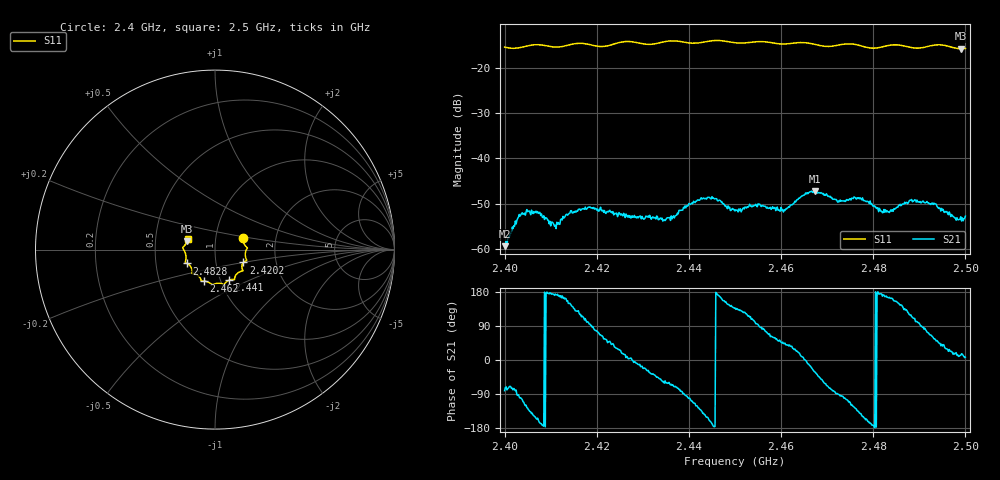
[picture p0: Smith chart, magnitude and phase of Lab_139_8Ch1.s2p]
# Hz S RI R 50
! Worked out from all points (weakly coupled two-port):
!   601 points, 2.4 GHz to 2.5 GHz, reference 50 ohm
!   highest |S21| = -47.19 dB at 2.4673 GHz (marker M1); lowest = -59.4 dB at 2.4 GHz (marker M2)
!   lowest |S11| = -15.8 dB at 2.499 GHz (marker M3), VSWR 1.39, Z = 36.4 + j3.53 ohm
!   |S11| at or under -10 dB: start of sweep to end of sweep
!   S12 and S22 are empty: the file has one direction only
!   S11 on the Smith chart (normalised r, x): 2.4 GHz: 1.36, +0.17; 2.4202 GHz: 1.36, -0.20; 2.441 GHz: 1.10, -0.39; 2.462 GHz: 0.84, -0.30; 2.4828 GHz: 0.72, -0.11; 2.5 GHz: 0.73, +0.09
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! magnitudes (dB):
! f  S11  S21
! 2.4 GHz  -15.4  -59.4
! 2.4037 GHz  -15.4  -52.2
! 2.4072 GHz  -14.9  -51.8
! 2.4113 GHz  -15.4  -54.2
! 2.4167 GHz  -14.6  -51.3
! 2.4202 GHz  -15.2  -51.2
! 2.4333 GHz  -14.5  -53.6
! 2.4365 GHz  -14.0  -53.0
! 2.441 GHz  -14.6  -49.5
! 2.4455 GHz  -14.0  -49.0
! 2.45 GHz  -14.4  -51.6
! 2.462 GHz  -14.6  -50.4
! 2.4667 GHz  -14.6  -47.3
! 2.4673 GHz  -14.8  -47.2
! 2.4727 GHz  -14.9  -49.6
! 2.4772 GHz  -15.1  -48.7
! 2.4828 GHz  -15.1  -51.9
! 2.4833 GHz  -15.0  -51.8
! 2.4887 GHz  -15.6  -49.5
! 2.4932 GHz  -15.0  -49.9
! 2.499 GHz  -15.8  -52.9
! 2.5 GHz  -15.7  -52.8
